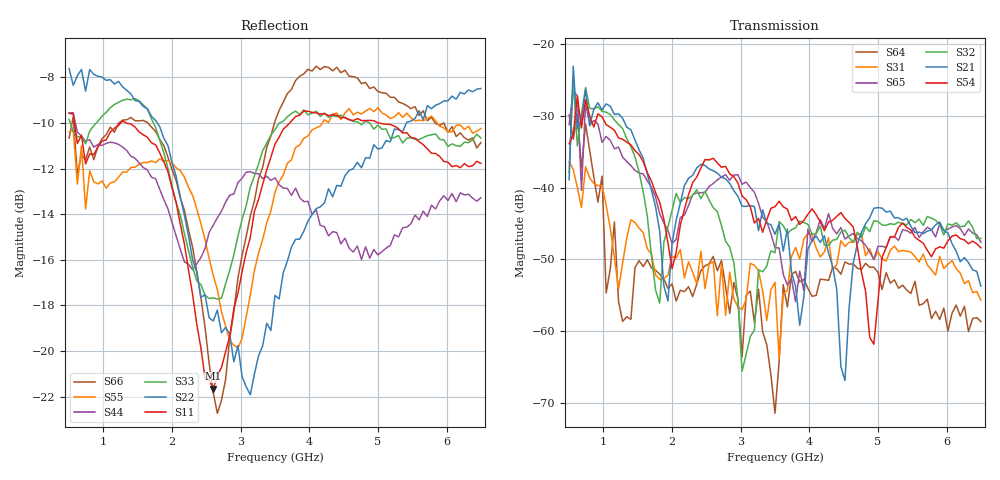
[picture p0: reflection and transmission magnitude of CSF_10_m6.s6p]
!Keysight Technologies,M9804A,MY58100912,A.14.10.03
!Date: Thursday, April 27, 2023 10:28:33
!Correction: S11(C  6-Port  )
!S12(C  6-Port  )
!S13(C  6-Port  )
!S14(C  6-Port  )
!S15(C  6-Port  )
!S16(C  6-Port  )
!S21(C  6-Port  )
!S22(C  6-Port  )
!S23(C  6-Port  )
!S24(C  6-Port  )
!S25(C  6-Port  )
!S26(C  6-Port  )
!S31(C  6-Port  )
!S32(C  6-Port  )
!S33(C  6-Port  )
!S34(C  6-Port  )
!S35(C  6-Port  )
!S36(C  6-Port  )
!S41(C  6-Port  )
!S42(C  6-Port  )
!S43(C  6-Port  )
!S44(C  6-Port  )
!S45(C  6-Port  )
!S46(C  6-Port  )
!S51(C  6-Port  )
!S52(C  6-Port  )
!S53(C  6-Port  )
!S54(C  6-Port  )
!S55(C  6-Port  )
!S56(C  6-Port  )
!S61(C  6-Port  )
!S62(C  6-Port  )
!S63(C  6-Port  )
!S64(C  6-Port  )
!S65(C  6-Port  )
!S66(C  6-Port  )
!S6P File: Measurement: :
# Hz S  RI  R 50
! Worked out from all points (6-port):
!   101 points, 500 MHz to 6.5 GHz, reference 50 ohm
!   strongest paths, dB at 500 MHz, 2 GHz, 3.5 GHz, 5 GHz, 6.5 GHz:
!     S54: -33.9, -51.3, -42.7, -55.9, -48.4
!     S21: -38.9, -47.8, -46.5, -42.8, -53.7
!     S32: -37.9, -43.2, -49.1, -44.7, -47.1
!     S65: -31.2, -47.8, -48.4, -48.2, -47.6
!     S31: -36.4, -49.6, -53.2, -48.9, -55.7
!     S64: -29.9, -53.4, -71.5, -51.8, -58.7
!   lowest |S11| = -21.7 dB at 2.6 GHz (marker M1), VSWR 1.18, Z = 42.6 + j2.06 ohm
!   |S11| at or under -10 dB: 577.6 MHz to 1.253 GHz (675.1 MHz wide, 73.8 % of centre); 1.332 GHz to 3.714 GHz (2.383 GHz wide, 94.4 % of centre); 5.01 GHz to end of sweep
